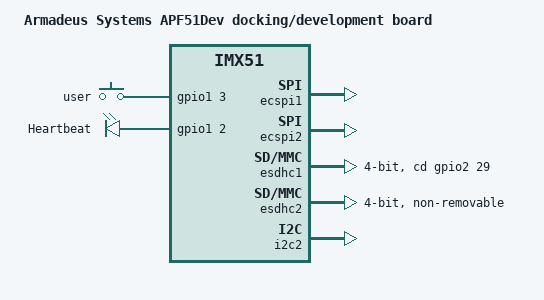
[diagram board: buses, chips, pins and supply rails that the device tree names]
/*
 * Copyright 2013 Armadeus Systems - <support@armadeus.com>
 *
 * The code contained herein is licensed under the GNU General Public
 * License. You may obtain a copy of the GNU General Public License
 * Version 2 or later at the following locations:
 *
 * http://www.opensource.org/licenses/gpl-license.html
 * http://www.gnu.org/copyleft/gpl.html
 */

/* APF51Dev is a docking board for the APF51 SOM */
#include "imx51-apf51.dts"

/ {
	model = "Armadeus Systems APF51Dev docking/development board";
	compatible = "armadeus,imx51-apf51dev", "armadeus,imx51-apf51", "fsl,imx51";

	display@di1 {
		compatible = "fsl,imx-parallel-display";
		crtcs = <&ipu 0>;
		interface-pix-fmt = "bgr666";
		pinctrl-names = "default";
		pinctrl-0 = <&pinctrl_ipu_disp1>;

		display-timings {
			lw700 {
				native-mode;
				clock-frequency = <33000033>;
				hactive = <800>;
				vactive = <480>;
				hback-porch = <96>;
				hfront-porch = <96>;
				vback-porch = <20>;
				vfront-porch = <21>;
				hsync-len = <64>;
				vsync-len = <4>;
				hsync-active = <1>;
				vsync-active = <1>;
				de-active = <1>;
				pixelclk-active = <0>;
			};
		};
	};

	gpio-keys {
		compatible = "gpio-keys";

		user-key {
			label = "user";
			gpios = <&gpio1 3 GPIO_ACTIVE_HIGH>;
			linux,code = <256>; /* BTN_0 */
		};
	};

	leds {
		compatible = "gpio-leds";

		user {
			label = "Heartbeat";
			gpios = <&gpio1 2 GPIO_ACTIVE_HIGH>;
			linux,default-trigger = "heartbeat";
		};
	};
};

&ecspi1 {
	pinctrl-names = "default";
	pinctrl-0 = <&pinctrl_ecspi1>;
	fsl,spi-num-chipselects = <2>;
	cs-gpios = <&gpio4 24 GPIO_ACTIVE_HIGH>,
		   <&gpio4 25 GPIO_ACTIVE_HIGH>;
	status = "okay";
};

&ecspi2 {
	pinctrl-names = "default";
	pinctrl-0 = <&pinctrl_ecspi2>;
	fsl,spi-num-chipselects = <2>;
	cs-gpios = <&gpio3 28 GPIO_ACTIVE_LOW>,
		   <&gpio3 27 GPIO_ACTIVE_LOW>;
	status = "okay";
};

&esdhc1 {
	pinctrl-names = "default";
	pinctrl-0 = <&pinctrl_esdhc1>;
	cd-gpios = <&gpio2 29 GPIO_ACTIVE_HIGH>;
	bus-width = <4>;
	status = "okay";
};

&esdhc2 {
	pinctrl-names = "default";
	pinctrl-0 = <&pinctrl_esdhc2>;
	bus-width = <4>;
	non-removable;
	status = "okay";
};

&i2c2 {
	pinctrl-names = "default";
	pinctrl-0 = <&pinctrl_i2c2>;
	status = "okay";
};

&iomuxc {
	pinctrl-names = "default";
	pinctrl-0 = <&pinctrl_hog>;

	imx51-apf51dev {
		pinctrl_hog: hoggrp {
			fsl,pins = <
				MX51_PAD_EIM_EB2__GPIO2_22   0x0C5
				MX51_PAD_EIM_EB3__GPIO2_23   0x0C5
				MX51_PAD_EIM_CS4__GPIO2_29   0x100
				MX51_PAD_NANDF_D13__GPIO3_27 0x0C5
				MX51_PAD_NANDF_D12__GPIO3_28 0x0C5
				MX51_PAD_CSPI1_SS0__GPIO4_24 0x0C5
				MX51_PAD_CSPI1_SS1__GPIO4_25 0x0C5
				MX51_PAD_GPIO1_2__GPIO1_2    0x0C5
				MX51_PAD_GPIO1_3__GPIO1_3    0x0C5
			>;
		};

		pinctrl_ecspi1: ecspi1grp {
			fsl,pins = <MX51_ECSPI1_PINGRP1>;
		};

		pinctrl_ecspi2: ecspi2grp {
			fsl,pins = <MX51_ECSPI2_PINGRP1>;
		};

		pinctrl_esdhc1: esdhc1grp {
			fsl,pins = <MX51_ESDHC1_PINGRP1>;
		};

		pinctrl_esdhc2: esdhc2grp {
			fsl,pins = <MX51_ESDHC2_PINGRP1>;
		};

		pinctrl_i2c2: i2c2grp {
			fsl,pins = <MX51_I2C2_PINGRP2>;
		};

		pinctrl_ipu_disp1: ipudisp1grp {
			fsl,pins = <MX51_IPU_DISP1_PINGRP1>;
		};
	};
};
